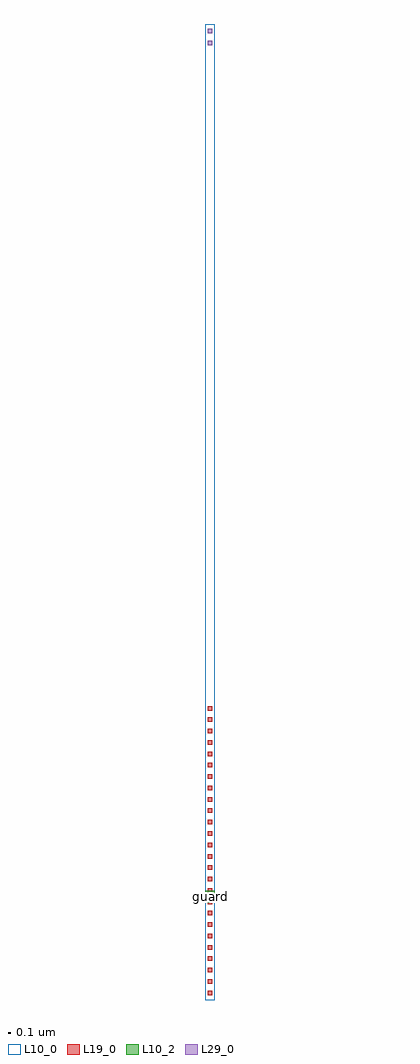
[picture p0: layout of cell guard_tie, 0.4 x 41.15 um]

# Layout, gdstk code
import gdstk
lib = gdstk.Library(unit=1e-6, precision=1e-09)
def R(c, l, rs):  # rectangles x0, y0, x1, y1
    for r in rs: c.add(gdstk.rectangle(r[:2], r[2:], *l))
def A(c, l, x, y, w, h, nx, ny, dx, dy):  # array of equal rectangles
    R(c, l, [(x+i*dx, y+j*dy, x+i*dx+w, y+j*dy+h) for i in range(nx) for j in range(ny)])
L10_0 = (10, 0)
L10_2 = (10, 2)
L19_0 = (19, 0)
L29_0 = (29, 0)

guard_tie = lib.new_cell('guard_tie')
R(guard_tie, L10_0, [(1.25,25.9,1.65,67.05)])
R(guard_tie, L10_2, [(1.25,30,1.65,30.5)])
A(guard_tie, L19_0, 1.355, 26.105, 0.19, 0.19, 1, 26, 0, 0.48)
R(guard_tie, L29_0, [(1.355,66.155,1.545,66.345), (1.355,66.655,1.545,66.845)])
guard_tie.add(gdstk.Label('guard', (1.45,30.25), layer=10, texttype=25))

lib.write_gds('guard_tie.gds')
